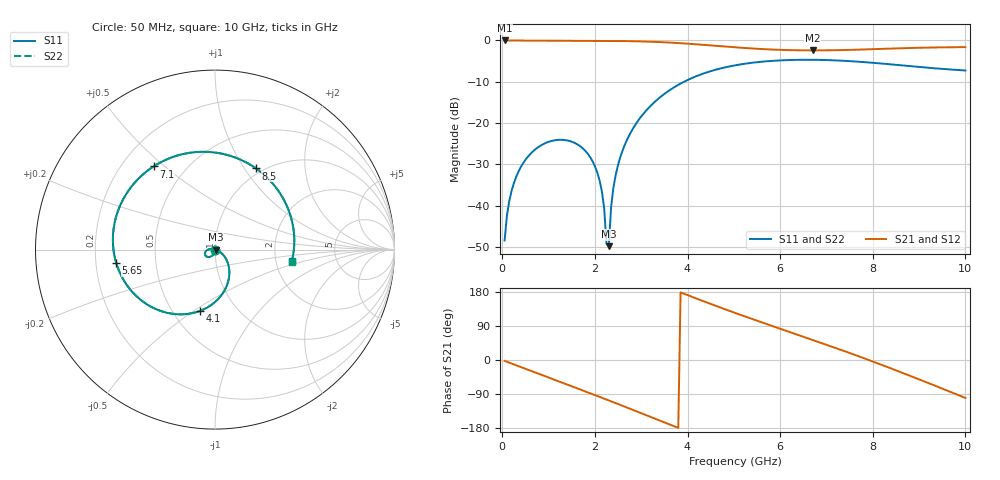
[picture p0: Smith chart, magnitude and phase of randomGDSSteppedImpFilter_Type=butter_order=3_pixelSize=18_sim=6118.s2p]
! freq	dB(S11)	phase(S11)	dB(S12)	phase(S12)
!  dB(S21)	phase(S21)	dB(S22)	phase(S22)
!S-par simulation data
#  GHz  S  DB  R 50
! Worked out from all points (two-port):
!   200 points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, 50 MHz to 10 GHz, reference 50 ohm
!   highest |S21| = -0.01 dB at 50 MHz (marker M1); lowest = -2.4 dB at 6.7 GHz (marker M2)
!   |S21| within 3 dB of the highest: start of sweep to end of sweep
!   lowest |S11| = -49.8 dB at 2.3 GHz (marker M3), VSWR 1.01, Z = 50.3 + j0.0232 ohm
!   |S11| at or under -10 dB: start of sweep to 3.925 GHz
!   |S22| runs from -50.0 to -4.7 dB; largest |S21 - S12| = 0
!   S11 on the Smith chart (normalised r, x): 50 MHz: 1.00, -0.01; 4.1 GHz: 0.68, -0.53; 5.65 GHz: 0.29, -0.06; 7.1 GHz: 0.33, +0.46; 8.5 GHz: 0.93, +1.13; 10 GHz: 2.45, -0.40
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0.05  -48.42 -91.5  -0.01 -2.4  -0.01 -2.4  -48.42 -91.5
0.2  -36.45 -99.3  -0.02 -9.3  -0.02 -9.3  -36.45 -99.3
0.55  -28.19 -116.0  -0.04 -25.5  -0.04 -25.5  -28.19 -116.0
1.15  -24.14 -144.2  -0.08 -53.1  -0.08 -53.1  -24.14 -144.2
1.75  -26.25 -172.7  -0.10 -80.9  -0.10 -80.9  -26.25 -172.6
2.1  -33.86 169.0  -0.11 -97.2  -0.11 -97.2  -33.86 169.3
2.2  -40.62 160.6  -0.12 -101.9  -0.12 -101.9  -40.62 161.2
2.25  -49.24 145.9  -0.12 -104.3  -0.12 -104.3  -49.29 147.7
2.3  -49.82 4.1  -0.12 -106.7  -0.12 -106.7  -49.96 2.2
2.35  -40.29 -13.1  -0.13 -109.1  -0.13 -109.1  -40.31 -13.9
2.4  -35.63 -18.3  -0.13 -111.4  -0.13 -111.4  -35.64 -18.7
2.55  -28.19 -27.7  -0.14 -118.6  -0.14 -118.6  -28.20 -27.9
3.4  -13.82 -70.1  -0.40 -159.8  -0.40 -159.8  -13.82 -70.2
4.1  -9.08 -103.7  -0.86 166.5  -0.86 166.5  -9.08 -103.9
5.05  -5.98 -146.8  -1.69 123.2  -1.69 123.2  -5.98 -146.9
5.65  -5.10 -172.4  -2.11 97.4  -2.11 97.4  -5.10 -172.6
6.7  -4.69 143.6  -2.41 53.2  -2.41 53.2  -4.69 143.3
7.1  -4.79 126.5  -2.38 36.1  -2.38 36.1  -4.79 126.2
8.35  -5.75 70.3  -1.99 -20.1  -1.99 -20.1  -5.75 69.8
8.5  -5.91 63.2  -1.93 -27.2  -1.93 -27.2  -5.91 62.8
9.3  -6.71 25.1  -1.71 -65.7  -1.71 -65.7  -6.71 24.5
10  -7.27 -8.7  -1.62 -100.1  -1.62 -100.1  -7.28 -9.3
